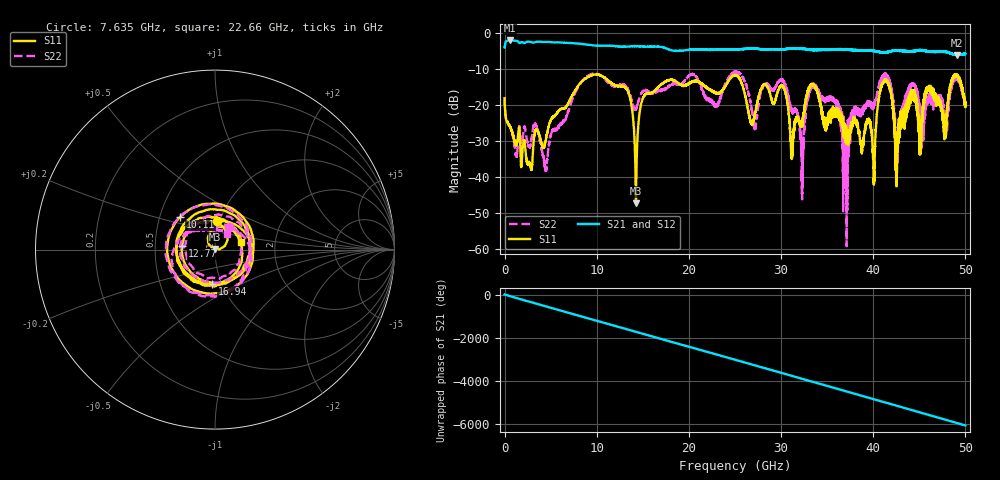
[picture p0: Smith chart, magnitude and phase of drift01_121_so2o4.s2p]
!Created with skrf (http://scikit-rf.org).
# Hz S RI R 50.0
!freq ReS11 ImS11 ReS21 ImS21 ReS12 ImS12 ReS22 ImS22
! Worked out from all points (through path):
!   10001 points, 300 kHz to 50 GHz, reference 50 ohm
!   highest |S21| = -2.00 dB at 595.3 MHz (marker M1); lowest = -6.1 dB at 49.05 GHz (marker M2)
!   group delay of S21, straight-line fit = 336 ps
!   lowest |S11| = -47.3 dB at 14.25 GHz (marker M3), VSWR 1.01, Z = 50.1 + j0.425 ohm
!   |S11| at or under -10 dB: start of sweep to end of sweep
!   |S22| runs from -59.2 to -10.6 dB; largest |S21 - S12| = 0.023
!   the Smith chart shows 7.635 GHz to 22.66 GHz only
!   S11 on the Smith chart (normalised r, x): 7.635 GHz: 0.98, +0.32; 10.11 GHz: 0.64, +0.25; 12.77 GHz: 0.69, +0.03; 16.94 GHz: 0.90, -0.36; 22.66 GHz: 1.34, +0.12
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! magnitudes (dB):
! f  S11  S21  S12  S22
! 300 kHz  -18.1  -3.9  -4.0  -17.8
! 595.3 MHz  -26.0  -2.0  -2.0  -26.0
! 4.445 GHz  -30.0  -2.4  -2.4  -37.8
! 7.635 GHz  -16.0  -2.8  -2.8  -16.7
! 8.335 GHz  -13.5  -3.0  -3.0  -13.5
! 10.11 GHz  -11.5  -3.4  -3.4  -11.3
! 12.77 GHz  -14.7  -3.7  -3.7  -14.4
! 14.25 GHz  -47.3  -3.6  -3.6  -21.2
! 16.67 GHz  -15.0  -3.7  -3.7  -15.8
! 16.94 GHz  -14.3  -3.8  -3.8  -15.8
! 22.66 GHz  -16.3  -4.6  -4.6  -19.2
! 25 GHz  -11.6  -4.5  -4.5  -11.0
! 27.16 GHz  -22.6  -4.3  -4.3  -26.1
! 30.2 GHz  -14.9  -4.5  -4.5  -13.2
! 32.28 GHz  -25.2  -4.3  -4.3  -40.1
! 33.34 GHz  -14.2  -4.6  -4.6  -14.7
! 36.99 GHz  -27.7  -4.5  -4.5  -33.6
! 40.06 GHz  -40.9  -4.9  -4.9  -20.3
! 41.67 GHz  -13.9  -5.1  -5.1  -12.8
! 42.56 GHz  -39.8  -4.8  -4.8  -30.6
! 49.05 GHz  -11.9  -6.1  -6.0  -12.7
! 50 GHz  -19.4  -5.7  -5.8  -19.7
